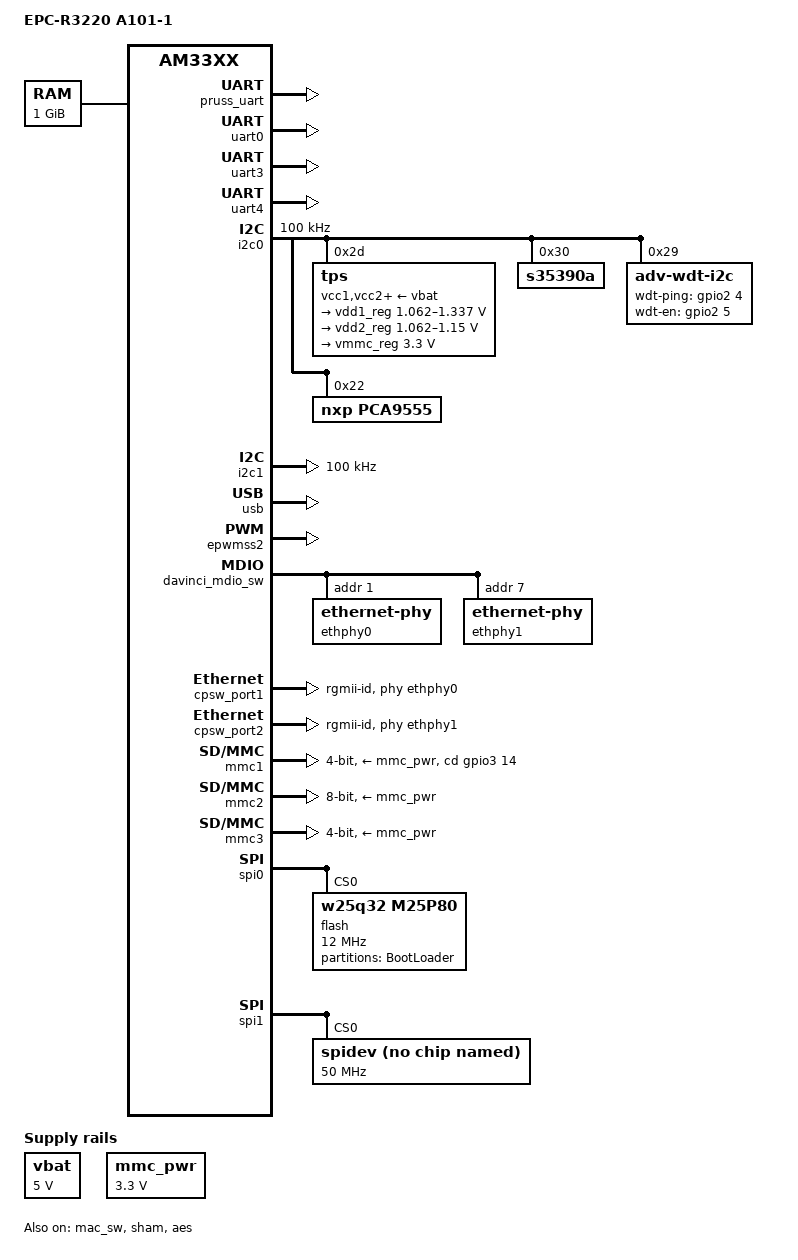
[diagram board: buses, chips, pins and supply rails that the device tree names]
// SPDX-License-Identifier: GPL-2.0-only
/*
 * Copyright (C) 2012 Texas Instruments Incorporated - https://www.ti.com/
 */

/*
 * AM335x Starter Kit
 * http://www.ti.com/tool/tmdssk3358
 */

/dts-v1/;

#include "am33xx.dtsi"
#include <dt-bindings/pwm/pwm.h>
#include <dt-bindings/interrupt-controller/irq.h>

/ {
	model = "EPC-R3220 A101-1";
	compatible = "ti,am335x-evmsk", "ti,am33xx";

	chosen {
		gpio-use-original-number;
	};

	cpus {
		cpu@0 {
			cpu0-supply = <&vdd1_reg>;
		};
	};

	memory {
		device_type = "memory";
		reg = <0x80000000 0x40000000>; /*2 * 256 MB */
	};

	vbat: fixedregulator@0 {
		compatible = "regulator-fixed";
		regulator-name = "vbat";
		regulator-min-microvolt = <5000000>;
		regulator-max-microvolt = <5000000>;
		regulator-boot-on;
	};
/*
	lis3_reg: fixedregulator1 {
		compatible = "regulator-fixed";
		regulator-name = "lis3_reg";
		regulator-boot-on;
	};

	wl12xx_vmmc: fixedregulator2 {
		pinctrl-names = "default";
		pinctrl-0 = <&wl12xx_gpio>;
		compatible = "regulator-fixed";
		regulator-name = "vwl1271";
		regulator-min-microvolt = <1800000>;
		regulator-max-microvolt = <1800000>;
		gpio = <&gpio1 29 0>;
		startup-delay-us = <70000>;
		enable-active-high;
	};
*/
	mmc_pwr: fixedregulator@3 {
		compatible = "regulator-fixed";
		regulator-name = "mmc_pwr";
		regulator-min-microvolt = <3300000>;
		regulator-max-microvolt = <3300000>;
		regulator-always-on;
		regulator-boot-on;
	};

	lcd_bl: backlight {
		compatible = "pwm-backlight";
		pwms = <&ecap2 0 50000 PWM_POLARITY_INVERTED>;
		brightness-levels = <0 58 61 66 75 90 125 170 255>;
		default-brightness-level = <8>;
		status = "disabled";
	};

	panel {
		compatible = "newhaven,nhd-4.3-480272ef-atxl";
		pinctrl-names = "default", "sleep";
		/*pinctrl-0 = <&lcd_pins_default>;
		pinctrl-1 = <&lcd_pins_sleep>;*/
		status = "disabled";

		port {
			panel_0: endpoint@0 {
				remote-endpoint = <&lcdc_0>;
			};
		};
	};
};

&am33xx_pinmux {
	pinctrl-names = "default";
	pinctrl-0 = <&wdt_pins_default>;

	ddr3_vtt_toggle: ddr3_vtt_toggle {
		pinctrl-single,pins = <
			AM33XX_PADCONF(AM335X_PIN_GPMC_OEN_REN, PIN_OUTPUT, MUX_MODE7)	/* gpmc_oen_ren.gpio2_3, OUTPUT, MODE7 */
		>;
	};

	user_leds_default: user_leds_default {
		pinctrl-single,pins = <
			AM33XX_PADCONF(AM335X_PIN_GPMC_AD4, PIN_OUTPUT_PULLDOWN, MUX_MODE7)	/* gpmc_ad4.gpio1_4 */
			AM33XX_PADCONF(AM335X_PIN_GPMC_AD5, PIN_OUTPUT_PULLDOWN, MUX_MODE7)	/* gpmc_ad5.gpio1_5 */
			AM33XX_PADCONF(AM335X_PIN_GPMC_AD6, PIN_OUTPUT_PULLDOWN, MUX_MODE7)	/* gpmc_ad6.gpio1_6 */
			AM33XX_PADCONF(AM335X_PIN_GPMC_AD7, PIN_OUTPUT_PULLDOWN, MUX_MODE7)	/* gpmc_ad7.gpio1_7 */
		>;
	};

	user_leds_sleep: user_leds_sleep {
		pinctrl-single,pins = <
			AM33XX_PADCONF(AM335X_PIN_GPMC_AD4, PIN_INPUT_PULLDOWN,MUX_MODE7)	/* gpmc_a5.gpio1_21 */
			AM33XX_PADCONF(AM335X_PIN_GPMC_AD5, PIN_OUTPUT_PULLDOWN, MUX_MODE7)	/* gpmc_a6.gpio1_22 */
			AM33XX_PADCONF(AM335X_PIN_GPMC_AD6, PIN_OUTPUT_PULLDOWN, MUX_MODE7)	/* gpmc_a7.gpio1_23 */
			AM33XX_PADCONF(AM335X_PIN_GPMC_AD7, PIN_OUTPUT_PULLDOWN, MUX_MODE7)	/* gpmc_a8.gpio1_24 */
		>;
	};

	i2c0_pins: pinmux_i2c0_pins {
		pinctrl-single,pins = <
			AM33XX_PADCONF(AM335X_PIN_I2C0_SDA, PIN_INPUT_PULLUP, MUX_MODE0)
			AM33XX_PADCONF(AM335X_PIN_I2C0_SCL, PIN_INPUT_PULLUP, MUX_MODE0)
		>;
	};

	i2c1_pins: i2c1_pins {
		pinctrl-single,pins = <
			AM33XX_PADCONF(AM335X_PIN_UART0_RTSN, PIN_INPUT, MUX_MODE3)/* (E17) uart0_rtsn.I2C1_SCL */
			AM33XX_PADCONF(AM335X_PIN_UART0_CTSN, PIN_INPUT, MUX_MODE3) /*(E18) uart0_ctsn.I2C1_SDA */
		>;
	};

	uart0_pins: pinmux_uart0_pins {
		pinctrl-single,pins = <
			AM33XX_PADCONF(AM335X_PIN_UART0_RXD, PIN_INPUT_PULLUP, MUX_MODE0)	/* uart0_rxd.uart0_rxd */
			AM33XX_PADCONF(AM335X_PIN_UART0_TXD, PIN_OUTPUT_PULLDOWN, MUX_MODE0)		/* uart0_txd.uart0_txd */
		>;
	};

	uart1_pins_default: pinmux_uart1_pins_default {
		pinctrl-single,pins = <
			AM33XX_PADCONF(AM335X_PIN_UART1_CTSN, PIN_INPUT, MUX_MODE0)			/* uart1_ctsn.uart1_ctsn */
			AM33XX_PADCONF(AM335X_PIN_UART1_RTSN, PIN_OUTPUT_PULLDOWN, MUX_MODE0)		/* uart1_rtsn.uart1_rtsn */
			AM33XX_PADCONF(AM335X_PIN_UART1_RXD, PIN_INPUT_PULLUP, MUX_MODE0)		/* uart1_rxd.uart1_rxd */
			AM33XX_PADCONF(AM335X_PIN_UART1_TXD, PIN_OUTPUT_PULLDOWN, MUX_MODE0) 	/* uart1_txd.uart1_txd */
		>;
	};

	uart1_pins_sleep: pinmux_uart1_pins_sleep {
		pinctrl-single,pins = <
			AM33XX_PADCONF(AM335X_PIN_UART1_CTSN, PIN_INPUT_PULLDOWN, MUX_MODE7)
			AM33XX_PADCONF(AM335X_PIN_UART1_RTSN, PIN_INPUT_PULLDOWN, MUX_MODE7)
			AM33XX_PADCONF(AM335X_PIN_UART1_RXD, PIN_INPUT_PULLDOWN, MUX_MODE7)
			AM33XX_PADCONF(AM335X_PIN_UART1_TXD, PIN_INPUT_PULLDOWN, MUX_MODE7)
		>;
	};

	uart2_pins_default: pinmux_uart2_pins_default {
		pinctrl-single,pins = <
			AM33XX_PADCONF(AM335X_PIN_MII1_CRS, PIN_INPUT_PULLUP, MUX_MODE6)		/* mii1_crs.uart2_rxd */
			AM33XX_PADCONF(AM335X_PIN_MII1_RX_ER, PIN_OUTPUT_PULLDOWN, MUX_MODE6) 	/* mii1_rxerr.uart2_txd */
		>;
	};

	uart2_pins_sleep: pinmux_uart2_pins_sleep {
		pinctrl-single,pins = <
			AM33XX_PADCONF(AM335X_PIN_MII1_CRS, PIN_INPUT_PULLDOWN, MUX_MODE7)
			AM33XX_PADCONF(AM335X_PIN_MII1_RX_ER, PIN_INPUT_PULLDOWN, MUX_MODE7)
		>;
	};

	uart3_pins_default: pinmux_uart3_pins_default {
		pinctrl-single,pins = <
			AM33XX_PADCONF(AM335X_PIN_SPI0_CS1, PIN_INPUT, MUX_MODE1 ) /* (C15) spi0_cs1.uart3_rxd */
			AM33XX_PADCONF(AM335X_PIN_ECAP0_IN_PWM0_OUT, PIN_OUTPUT, MUX_MODE1 ) /* (C18) eCAP0_in_PWM0_out.uart3_txd */
			AM33XX_PADCONF(AM335X_PIN_LCD_DATA10, PIN_INPUT, MUX_MODE6 ) /* (U3) lcd_data10.uart3_ctsn */
			AM33XX_PADCONF(AM335X_PIN_LCD_DATA11, PIN_OUTPUT, MUX_MODE6 ) /* (U4) lcd_data11.uart3_rtsn */
		>;
	};

	uart3_pins_sleep: pinmux_uart3_pins_sleep {
		pinctrl-single,pins = <
			AM33XX_PADCONF(AM335X_PIN_SPI0_CS1, PIN_INPUT_PULLDOWN, MUX_MODE7)
			AM33XX_PADCONF(AM335X_PIN_ECAP0_IN_PWM0_OUT, PIN_INPUT_PULLDOWN, MUX_MODE7)
			AM33XX_PADCONF(AM335X_PIN_LCD_DATA10, PIN_INPUT_PULLDOWN, MUX_MODE7) /* (U3) lcd_data10.uart3_ctsn */
			AM33XX_PADCONF(AM335X_PIN_LCD_DATA11, PIN_INPUT_PULLDOWN, MUX_MODE7) /* (U4) lcd_data11.uart3_rtsn */
		>;
	};

	uart3_rs485_mode: pinmux_uart3_rs485 {
        pinctrl-single,pins = <
			AM33XX_PADCONF(AM335X_PIN_SPI0_CS1, PIN_INPUT, MUX_MODE1 ) /* (C15) spi0_cs1.uart3_rxd */
			AM33XX_PADCONF(AM335X_PIN_ECAP0_IN_PWM0_OUT, PIN_OUTPUT, MUX_MODE1 ) /* (C18) eCAP0_in_PWM0_out.uart3_txd */
			AM33XX_PADCONF(AM335X_PIN_LCD_DATA10, PIN_INPUT_PULLDOWN, MUX_MODE7) /* (U3) lcd_data10.uart3_ctsn */
			AM33XX_PADCONF(AM335X_PIN_LCD_DATA11, PIN_OUTPUT_PULLUP, MUX_MODE7 ) /* (U4) lcd_data11.uart3_rtsn */
        >;
	};

	uart4_pins_default: pinmux_uart4_pins_default {
		pinctrl-single,pins = <
			AM33XX_PADCONF(AM335X_PIN_GPMC_WAIT0, PIN_INPUT_PULLUP, MUX_MODE6)		/* gpmc_wait0.uart4_rxd */
			AM33XX_PADCONF(AM335X_PIN_GPMC_WPN, PIN_OUTPUT_PULLDOWN, MUX_MODE6) 		/* gpmc_wpn.uart4_txd */
			AM33XX_PADCONF(AM335X_PIN_LCD_DATA12, PIN_INPUT, MUX_MODE6 ) /* (V2) lcd_data12.uart4_ctsn */
			AM33XX_PADCONF(AM335X_PIN_LCD_DATA13, PIN_OUTPUT, MUX_MODE6 ) /* (V3) lcd_data13.uart4_rtsn */
		>;
	};

	uart4_pins_sleep: pinmux_uart4_pins_sleep {
		pinctrl-single,pins = <
			AM33XX_PADCONF(AM335X_PIN_GPMC_WAIT0, PIN_INPUT_PULLDOWN, MUX_MODE7)
			AM33XX_PADCONF(AM335X_PIN_GPMC_WPN, PIN_INPUT_PULLDOWN, MUX_MODE7)
			AM33XX_PADCONF(AM335X_PIN_LCD_DATA12, PIN_INPUT_PULLDOWN, MUX_MODE7) /* (V2) lcd_data12.uart4_ctsn */
			AM33XX_PADCONF(AM335X_PIN_LCD_DATA13, PIN_INPUT_PULLDOWN, MUX_MODE7) /* (V3) lcd_data13.uart4_rtsn */
		>;
	};

	uart4_rs485_mode: pinmux_uart4_rs485 {
		pinctrl-single,pins = <
			AM33XX_PADCONF(AM335X_PIN_GPMC_WAIT0, PIN_INPUT_PULLUP, MUX_MODE6)		/* gpmc_wait0.uart4_rxd */
			AM33XX_PADCONF(AM335X_PIN_GPMC_WPN, PIN_OUTPUT_PULLDOWN, MUX_MODE6) 		/* gpmc_wpn.uart4_txd */
			AM33XX_PADCONF(AM335X_PIN_LCD_DATA12, PIN_INPUT_PULLDOWN, MUX_MODE7) /* (V2) lcd_data12.uart4_ctsn */
			AM33XX_PADCONF(AM335X_PIN_LCD_DATA13, PIN_OUTPUT_PULLUP, MUX_MODE7 ) /* (V3) lcd_data13.uart4_rtsn */
		>;
	};

	uart5_pins_default: pinmux_uart5_pins_default {
		pinctrl-single,pins = <
			AM33XX_PADCONF(AM335X_PIN_MII1_COL, PIN_INPUT_PULLUP, MUX_MODE3)		/* mii1_col.uart5_rxd */
			AM33XX_PADCONF(AM335X_PIN_RMII1_REF_CLK, PIN_OUTPUT_PULLDOWN, MUX_MODE3) 	/* rmii1_refclk.uart5_txd */
		>;
	};

	uart5_pins_sleep: pinmux_uart5_pins_sleep {
		pinctrl-single,pins = <
			AM33XX_PADCONF(AM335X_PIN_MII1_COL, PIN_INPUT_PULLDOWN, MUX_MODE7)
			AM33XX_PADCONF(AM335X_PIN_RMII1_REF_CLK, PIN_INPUT_PULLDOWN, MUX_MODE7)
		>;
	};

	usb0_pins_default: pinmux_usb0_pins {
		pinctrl-single,pins = <
			AM33XX_PADCONF(AM335X_PIN_USB0_DRVVBUS, PIN_OUTPUT_PULLDOWN, MUX_MODE0) /* usb0_drvvbus.usb0_drvvbus */
			AM33XX_PADCONF(AM335X_PIN_USB1_DRVVBUS, PIN_OUTPUT_PULLDOWN, MUX_MODE0) /* usb1_drvvbus.usb1_drvvbus */
		>;
	};

	dcan1_pins_default: dcan1_pins_default {
		pinctrl-single,pins = <
			AM33XX_PADCONF(AM335X_PIN_UART0_CTSN, PIN_OUTPUT, MUX_MODE2) 		/* uart0_ctsn.d_can1_tx */
			AM33XX_PADCONF(AM335X_PIN_UART0_RTSN, PIN_INPUT_PULLDOWN, MUX_MODE2) /* uart0_rtsn.d_can1_rx */
		>;
	};

	clkout2_pin: pinmux_clkout2_pin {
		pinctrl-single,pins = <
			AM33XX_PADCONF(AM335X_PIN_XDMA_EVENT_INTR1, PIN_OUTPUT_PULLDOWN, MUX_MODE3)	/* xdma_event_intr1.clkout2 */
		>;
	};

	ecap2_pins: backlight_pins {
		pinctrl-single,pins = <
			AM33XX_PADCONF(AM335X_PIN_MCASP0_AHCLKR, PIN_OUTPUT_PULLDOWN, MUX_MODE4)	/* mcasp0_ahclkr.ecap2_in_pwm2_out MODE4*/
		>;
	};

	spi0_pins: pinmux_spi0_pins {
		pinctrl-single,pins = <
			AM33XX_PADCONF(AM335X_PIN_SPI0_SCLK, PIN_INPUT_PULLUP, MUX_MODE0)          /* sspi0_sclk.spi0_sclk */
			AM33XX_PADCONF(AM335X_PIN_SPI0_D0, PIN_INPUT_PULLUP, MUX_MODE0)          /* spi0_d0.spi0_d0 */
			AM33XX_PADCONF(AM335X_PIN_SPI0_D1, PIN_OUTPUT_PULLUP, MUX_MODE0)         /* spi0_d1.spi0_d1 */
			AM33XX_PADCONF(AM335X_PIN_SPI0_CS0, PIN_OUTPUT_PULLUP, MUX_MODE0)         /* spi0_cs0.spi0_cs0 */
		>;
	};

	spi1_pins: spi1_pins {
		pinctrl-single,pins = <
			AM33XX_PADCONF(AM335X_PIN_MII1_COL, PIN_INPUT, MUX_MODE2 ) /* (H16) gmii1_col.spi1_sclk */
			AM33XX_PADCONF(AM335X_PIN_MII1_CRS, PIN_INPUT, MUX_MODE2 ) /* (H17) gmii1_crs.spi1_d0 */
			AM33XX_PADCONF(AM335X_PIN_MII1_RX_ER, PIN_INPUT, MUX_MODE2 ) /* (J15) gmii1_rxer.spi1_d1 */
			AM33XX_PADCONF(AM335X_PIN_RMII1_REF_CLK, PIN_INPUT, MUX_MODE2 ) /* (H18) rmii1_refclk.spi1_cs0 */
		>;
	};

	wdt_pins_default: pinmux_wdt_pins_default {
		pinctrl-single,pins = <
			AM33XX_PADCONF(AM335X_PIN_GPMC_BEN0_CLE, PIN_OUTPUT_PULLDOWN, MUX_MODE7 ) /* (T6) gpmc_be0n_cle.gpio2[5] */
			AM33XX_PADCONF(AM335X_PIN_GPMC_WEN, PIN_OUTPUT_PULLDOWN, MUX_MODE7) 		/* gpmc_wen.gpio2_4 */
		>;
	};

	cpsw_default: cpsw_default {
		pinctrl-single,pins = <
			/* Slave 1 */
			AM33XX_PADCONF(AM335X_PIN_MII1_TX_EN, PIN_OUTPUT_PULLDOWN, MUX_MODE2)	/* mii1_txen.rgmii1_tctl */
			AM33XX_PADCONF(AM335X_PIN_MII1_RX_DV, PIN_INPUT_PULLDOWN, MUX_MODE2)	/* mii1_rxdv.rgmii1_rctl */
			AM33XX_PADCONF(AM335X_PIN_MII1_TXD3, PIN_OUTPUT_PULLDOWN, MUX_MODE2)	/* mii1_txd3.rgmii1_td3 */
			AM33XX_PADCONF(AM335X_PIN_MII1_TXD2, PIN_OUTPUT_PULLDOWN, MUX_MODE2)	/* mii1_txd2.rgmii1_td2 */
			AM33XX_PADCONF(AM335X_PIN_MII1_TXD1, PIN_OUTPUT_PULLDOWN, MUX_MODE2)	/* mii1_txd1.rgmii1_td1 */
			AM33XX_PADCONF(AM335X_PIN_MII1_TXD0, PIN_OUTPUT_PULLDOWN, MUX_MODE2)	/* mii1_txd0.rgmii1_td0 */
			AM33XX_PADCONF(AM335X_PIN_MII1_TX_CLK, PIN_OUTPUT_PULLDOWN, MUX_MODE2)	/* mii1_txclk.rgmii1_tclk */
			AM33XX_PADCONF(AM335X_PIN_MII1_RX_CLK, PIN_INPUT_PULLDOWN, MUX_MODE2)	/* mii1_rxclk.rgmii1_rclk */
			AM33XX_PADCONF(AM335X_PIN_MII1_RXD3, PIN_INPUT_PULLDOWN, MUX_MODE2)	/* mii1_rxd3.rgmii1_rd3 */
			AM33XX_PADCONF(AM335X_PIN_MII1_RXD2, PIN_INPUT_PULLDOWN, MUX_MODE2)	/* mii1_rxd2.rgmii1_rd2 */
			AM33XX_PADCONF(AM335X_PIN_MII1_RXD1, PIN_INPUT_PULLDOWN, MUX_MODE2)	/* mii1_rxd1.rgmii1_rd1 */
			AM33XX_PADCONF(AM335X_PIN_MII1_RXD0, PIN_INPUT_PULLDOWN, MUX_MODE2)	/* mii1_rxd0.rgmii1_rd0 */

			/* Slave 2 */
			AM33XX_PADCONF(AM335X_PIN_GPMC_A0, PIN_OUTPUT_PULLDOWN, MUX_MODE2)	/* gpmc_a0.rgmii2_tctl */
			AM33XX_PADCONF(AM335X_PIN_GPMC_A1, PIN_INPUT_PULLDOWN, MUX_MODE2)	/* gpmc_a1.rgmii2_rctl */
			AM33XX_PADCONF(AM335X_PIN_GPMC_A2, PIN_OUTPUT_PULLDOWN, MUX_MODE2)	/* gpmc_a2.rgmii2_td3 */
			AM33XX_PADCONF(AM335X_PIN_GPMC_A3, PIN_OUTPUT_PULLDOWN, MUX_MODE2)	/* gpmc_a3.rgmii2_td2 */
			AM33XX_PADCONF(AM335X_PIN_GPMC_A4, PIN_OUTPUT_PULLDOWN, MUX_MODE2)	/* gpmc_a4.rgmii2_td1 */
			AM33XX_PADCONF(AM335X_PIN_GPMC_A5, PIN_OUTPUT_PULLDOWN, MUX_MODE2)	/* gpmc_a5.rgmii2_td0 */
			AM33XX_PADCONF(AM335X_PIN_GPMC_A6, PIN_OUTPUT_PULLDOWN, MUX_MODE2)	/* gpmc_a6.rgmii2_tclk */
			AM33XX_PADCONF(AM335X_PIN_GPMC_A7, PIN_INPUT_PULLDOWN, MUX_MODE2)	/* gpmc_a7.rgmii2_rclk */
			AM33XX_PADCONF(AM335X_PIN_GPMC_A8, PIN_INPUT_PULLDOWN, MUX_MODE2)	/* gpmc_a8.rgmii2_rd3 */
			AM33XX_PADCONF(AM335X_PIN_GPMC_A9, PIN_INPUT_PULLDOWN, MUX_MODE2)	/* gpmc_a9.rgmii2_rd2 */
			AM33XX_PADCONF(AM335X_PIN_GPMC_A10, PIN_INPUT_PULLDOWN, MUX_MODE2)	/* gpmc_a10.rgmii2_rd1 */
			AM33XX_PADCONF(AM335X_PIN_GPMC_A11, PIN_INPUT_PULLDOWN, MUX_MODE2)	/* gpmc_a11.rgmii2_rd0 */
		>;
	};

	cpsw_sleep: cpsw_sleep {
		pinctrl-single,pins = <
			/* Slave 1 reset value */
			AM33XX_PADCONF(AM335X_PIN_MII1_TX_EN, PIN_INPUT_PULLDOWN, MUX_MODE7)
			AM33XX_PADCONF(AM335X_PIN_MII1_RX_DV, PIN_INPUT_PULLDOWN, MUX_MODE7)
			AM33XX_PADCONF(AM335X_PIN_MII1_TXD3, PIN_INPUT_PULLDOWN, MUX_MODE7)
			AM33XX_PADCONF(AM335X_PIN_MII1_TXD2, PIN_INPUT_PULLDOWN, MUX_MODE7)
			AM33XX_PADCONF(AM335X_PIN_MII1_TXD1, PIN_INPUT_PULLDOWN, MUX_MODE7)
			AM33XX_PADCONF(AM335X_PIN_MII1_TXD0, PIN_INPUT_PULLDOWN, MUX_MODE7)
			AM33XX_PADCONF(AM335X_PIN_MII1_TX_CLK, PIN_INPUT_PULLDOWN, MUX_MODE7)
			AM33XX_PADCONF(AM335X_PIN_MII1_RX_CLK, PIN_INPUT_PULLDOWN, MUX_MODE7)
			AM33XX_PADCONF(AM335X_PIN_MII1_RXD3, PIN_INPUT_PULLDOWN, MUX_MODE7)
			AM33XX_PADCONF(AM335X_PIN_MII1_RXD2, PIN_INPUT_PULLDOWN, MUX_MODE7)
			AM33XX_PADCONF(AM335X_PIN_MII1_RXD1, PIN_INPUT_PULLDOWN, MUX_MODE7)
			AM33XX_PADCONF(AM335X_PIN_MII1_RXD0, PIN_INPUT_PULLDOWN, MUX_MODE7)

			/* Slave 2 reset value*/
			AM33XX_PADCONF(AM335X_PIN_GPMC_A0, PIN_INPUT_PULLDOWN, MUX_MODE7)
			AM33XX_PADCONF(AM335X_PIN_GPMC_A1, PIN_INPUT_PULLDOWN, MUX_MODE7)
			AM33XX_PADCONF(AM335X_PIN_GPMC_A2, PIN_INPUT_PULLDOWN, MUX_MODE7)
			AM33XX_PADCONF(AM335X_PIN_GPMC_A3, PIN_INPUT_PULLDOWN, MUX_MODE7)
			AM33XX_PADCONF(AM335X_PIN_GPMC_A4, PIN_INPUT_PULLDOWN, MUX_MODE7)
			AM33XX_PADCONF(AM335X_PIN_GPMC_A5, PIN_INPUT_PULLDOWN, MUX_MODE7)
			AM33XX_PADCONF(AM335X_PIN_GPMC_A6, PIN_INPUT_PULLDOWN, MUX_MODE7)
			AM33XX_PADCONF(AM335X_PIN_GPMC_A7, PIN_INPUT_PULLDOWN, MUX_MODE7)
			AM33XX_PADCONF(AM335X_PIN_GPMC_A8, PIN_INPUT_PULLDOWN, MUX_MODE7)
			AM33XX_PADCONF(AM335X_PIN_GPMC_A9, PIN_INPUT_PULLDOWN, MUX_MODE7)
			AM33XX_PADCONF(AM335X_PIN_GPMC_A10, PIN_INPUT_PULLDOWN, MUX_MODE7)
			AM33XX_PADCONF(AM335X_PIN_GPMC_A11, PIN_INPUT_PULLDOWN, MUX_MODE7)
		>;
	};

	davinci_mdio_default: davinci_mdio_default {
		pinctrl-single,pins = <
			/* MDIO */
			AM33XX_PADCONF(AM335X_PIN_MDIO, PIN_INPUT_PULLUP | SLEWCTRL_FAST, MUX_MODE0)
			AM33XX_PADCONF(AM335X_PIN_MDC, PIN_OUTPUT_PULLUP, MUX_MODE0)
		>;
	};

	davinci_mdio_sleep: davinci_mdio_sleep {
		pinctrl-single,pins = <
			/* MDIO reset value */
			AM33XX_PADCONF(AM335X_PIN_MDIO, PIN_INPUT_PULLDOWN, MUX_MODE7)
			AM33XX_PADCONF(AM335X_PIN_MDC, PIN_INPUT_PULLDOWN, MUX_MODE7)
		>;
	};

	mmc1_pins: pinmux_mmc1_pins {
		pinctrl-single,pins = <
			AM33XX_PADCONF(AM335X_PIN_MMC0_DAT3, PIN_INPUT_PULLUP, MUX_MODE0)	/* mmc0_dat3.mmc0_dat3 */
			AM33XX_PADCONF(AM335X_PIN_MMC0_DAT2, PIN_INPUT_PULLUP, MUX_MODE0)	/* mmc0_dat2.mmc0_dat2 */
			AM33XX_PADCONF(AM335X_PIN_MMC0_DAT1, PIN_INPUT_PULLUP, MUX_MODE0)	/* mmc0_dat1.mmc0_dat1 */
			AM33XX_PADCONF(AM335X_PIN_MMC0_DAT0, PIN_INPUT_PULLUP, MUX_MODE0)	/* mmc0_dat0.mmc0_dat0 */
			AM33XX_PADCONF(AM335X_PIN_MMC0_CLK, PIN_INPUT_PULLUP, MUX_MODE0)	/* mmc0_clk.mmc0_clk */
			AM33XX_PADCONF(AM335X_PIN_MMC0_CMD, PIN_INPUT_PULLUP, MUX_MODE0)	/* mmc0_cmd.mmc0_cmd */
			AM33XX_PADCONF(AM335X_PIN_MCASP0_ACLKR, PIN_INPUT_PULLUP, MUX_MODE7)	/* mcasp0_aclkr.gpio3_18 */
			AM33XX_PADCONF(AM335X_PIN_MCASP0_ACLKX, PIN_INPUT_PULLUP, MUX_MODE7)	/* mcasp0_aclkx.gpio3_14 */
		>;
	};

	mcasp1_pins: mcasp1_pins {
		pinctrl-single,pins = <
			AM33XX_PADCONF(AM335X_PIN_MII1_CRS, PIN_INPUT_PULLDOWN, MUX_MODE4) /* mii1_crs.mcasp1_aclkx */
			AM33XX_PADCONF(AM335X_PIN_MII1_RX_ER, PIN_INPUT_PULLDOWN, MUX_MODE4) /* mii1_rxerr.mcasp1_fsx */
			AM33XX_PADCONF(AM335X_PIN_MII1_COL, PIN_OUTPUT_PULLDOWN, MUX_MODE4) /* mii1_col.mcasp1_axr2 */
			AM33XX_PADCONF(AM335X_PIN_RMII1_REF_CLK, PIN_INPUT_PULLDOWN, MUX_MODE4) /* rmii1_ref_clk.mcasp1_axr3 */
		>;
	};

	mcasp1_pins_sleep: mcasp1_pins_sleep {
		pinctrl-single,pins = <
			AM33XX_PADCONF(AM335X_PIN_MII1_CRS, PIN_INPUT_PULLDOWN, MUX_MODE7)
			AM33XX_PADCONF(AM335X_PIN_MII1_RX_ER, PIN_INPUT_PULLDOWN, MUX_MODE7)
			AM33XX_PADCONF(AM335X_PIN_MII1_COL, PIN_INPUT_PULLDOWN, MUX_MODE7)
			AM33XX_PADCONF(AM335X_PIN_RMII1_REF_CLK, PIN_INPUT_PULLDOWN, MUX_MODE7)
		>;
	};

	mmc2_pins: pinmux_mmc2_pins {
		pinctrl-single,pins = <
			AM33XX_PADCONF(AM335X_PIN_GPMC_CSN1, PIN_INPUT_PULLUP, MUX_MODE2) /* gpmc_csn1.mmc1_clk */
			AM33XX_PADCONF(AM335X_PIN_GPMC_CSN2, PIN_INPUT_PULLUP, MUX_MODE2) /* gpmc_csn2.mmc1_cmd */
			AM33XX_PADCONF(AM335X_PIN_GPMC_AD0, PIN_INPUT_PULLUP, MUX_MODE1) /* gpmc_ad0.mmc1_dat0 */
			AM33XX_PADCONF(AM335X_PIN_GPMC_AD1, PIN_INPUT_PULLUP, MUX_MODE1) /* gpmc_ad1.mmc1_dat1 */
			AM33XX_PADCONF(AM335X_PIN_GPMC_AD2, PIN_INPUT_PULLUP, MUX_MODE1) /* gpmc_ad2.mmc1_dat2 */
			AM33XX_PADCONF(AM335X_PIN_GPMC_AD3, PIN_INPUT_PULLUP, MUX_MODE1) /* gpmc_ad3.mmc1_dat3 */
			AM33XX_PADCONF(AM335X_PIN_GPMC_AD4, PIN_INPUT_PULLUP, MUX_MODE1) /* gpmc_ad4.mmc1_dat4 */
			AM33XX_PADCONF(AM335X_PIN_GPMC_AD5, PIN_INPUT_PULLUP, MUX_MODE1) /* gpmc_ad5.mmc1_dat5 */
			AM33XX_PADCONF(AM335X_PIN_GPMC_AD6, PIN_INPUT_PULLUP, MUX_MODE1) /* gpmc_ad6.mmc1_dat6 */
			AM33XX_PADCONF(AM335X_PIN_GPMC_AD7, PIN_INPUT_PULLUP, MUX_MODE1) /* gpmc_ad7.mmc1_dat7 */
		>;
	};

	mmc3_pins: mmc3_pins {
		pinctrl-single,pins = <
			AM33XX_PADCONF(AM335X_PIN_GPMC_CLK, PIN_INPUT, MUX_MODE3 ) /* (V12) gpmc_clk.mmc2_clk */
			AM33XX_PADCONF(AM335X_PIN_GPMC_CSN3, PIN_INPUT, MUX_MODE3 ) /* (T13) gpmc_csn3.mmc2_cmd */
			AM33XX_PADCONF(AM335X_PIN_GPMC_AD12, PIN_INPUT, MUX_MODE3 ) /* (T12) gpmc_ad12.mmc2_dat0 */
			AM33XX_PADCONF(AM335X_PIN_GPMC_AD13, PIN_INPUT, MUX_MODE3 ) /* (R12) gpmc_ad13.mmc2_dat1 */
			AM33XX_PADCONF(AM335X_PIN_GPMC_AD14, PIN_INPUT, MUX_MODE3 ) /* (V13) gpmc_ad14.mmc2_dat2 */
			AM33XX_PADCONF(AM335X_PIN_GPMC_AD15, PIN_INPUT, MUX_MODE3 ) /* (U13) gpmc_ad15.mmc2_dat3 */
		>;
	};

	wl12xx_gpio: pinmux_wl12xx_gpio {
		pinctrl-single,pins = <
			AM33XX_PADCONF(AM335X_PIN_GPMC_CSN0, PIN_OUTPUT_PULLUP, MUX_MODE7) /* gpmc_csn0.gpio1_29 */
		>;
	};

	pruss_uart_pins: pruss_uart_pins {
		pinctrl-single,pins = <
			AM33XX_PADCONF(AM335X_PIN_SPI0_SCLK, PIN_INPUT_PULLDOWN, MUX_MODE4) /* spi0_sclk.pr1_uart0_cts_n */
			AM33XX_PADCONF(AM335X_PIN_SPI0_D0, PIN_OUTPUT_PULLDOWN, MUX_MODE4) /* spi0_d0.pr1_uart0_rts_n */
			AM33XX_PADCONF(AM335X_PIN_SPI0_D1, PIN_INPUT_PULLUP, MUX_MODE4) /* spi0_d1.pr1_uart0_rxd */
			AM33XX_PADCONF(AM335X_PIN_SPI0_CS0, PIN_OUTPUT_PULLUP, MUX_MODE4) /* spi0_cs9.pr1_uart0_txd */
		>;
	};
};

&pruss_uart {
	interrupts = <6 2 2>;
	pinctrl-names = "default";
	pinctrl-0 = <&pruss_uart_pins>;
	status = "okay";
};

&uart0 {
	pinctrl-names = "default";
	pinctrl-0 = <&uart0_pins>;

	status = "okay";
};

&uart1 {
	pinctrl-names = "default";
	pinctrl-0 = <&uart1_pins_default>;
	adv_rs485flag_gpio = <45>;
	status = "disabled";
};

&uart2 {
	pinctrl-names = "default";
	pinctrl-0 = <&uart2_pins_default>;
	status = "disabled";
};

&uart3 {
	pinctrl-names = "default","rs485_mode";
	pinctrl-0 = <&uart3_pins_default>;
	pinctrl-1 = <&uart3_rs485_mode>;
	rts-gpio = <&gpio2 17 GPIO_ACTIVE_LOW>;
	rs485-rts-active-high;
	rs485-rx-during-tx;
	rs485-rts-delay = <1 0>;
	adv_rs485flag_gpio = <499>;
	status = "okay";
};

&uart4 {
	pinctrl-names = "default","rs485_mode";
	pinctrl-0 = <&uart4_pins_default>;
	pinctrl-1 = <&uart4_rs485_mode>;
	rts-gpio = <&gpio0 9 GPIO_ACTIVE_LOW>;
	rs485-rts-active-high;
	rs485-rx-during-tx;
	rs485-rts-delay = <1 0>;
	adv_rs485flag_gpio = <502>;
	status = "okay";
};

&uart5 {
	pinctrl-names = "default";
	pinctrl-0 = <&uart5_pins_default>;

	status = "disabled";
};

&i2c0 {
	pinctrl-names = "default";
	pinctrl-0 = <&i2c0_pins>;

	status = "okay";
	clock-frequency = <100000>;

	tps: tps@2d {
		reg = <0x2d>;
	};

	s35390a: s35390a@30 {
		compatible = "s35390a";
		reg = <0x30>;
		status = "okay";
	};

	adv-wdt-i2c@29 {
		compatible = "adv-wdt-i2c";
		status = "okay";
		reg = <0x29>;
		wdt-ping = <&gpio2 4 GPIO_ACTIVE_HIGH>;
		wdt-en = <&gpio2 5 GPIO_ACTIVE_HIGH>;
	};

	pca9555: gpio@22 {
		compatible = "nxp,pca9555";
		reg = <0x22>;
		polarity = <0>;
		default_value = <0 0 0 0 0 0 0 0 1 0 0 1 0 0 0 0>;
		default_direction = <0 0 0 0 0 0 0 0 1 1 1 1 1 1 0 0>;
		export_flag = <1 1 1 1 1 1 0 0 1 1 1 1 1 1 0 0>;
		status = "okay";
	};
};

&i2c1 {
	pinctrl-names = "default";
	pinctrl-0 = <&i2c1_pins>;

	status = "okay";
	clock-frequency = <100000>;

};

&usb {
	status = "okay";
	pinctrl-names = "default";
	pinctrl-0 = <&usb0_pins_default>;
};

&epwmss2 {
	status = "okay";

	ecap2: pwm@100 {
		status = "disabled";
		pinctrl-names = "default";
		pinctrl-0 = <&ecap2_pins>;
	};
};

&wkup_m3_ipc {
	ti,needs-vtt-toggle;
	ti,vtt-gpio-pin = <67>;
	ti,scale-data-fw = "am335x-evm-scale-data.bin";
};

#include "tps65910.dtsi"

&tps {
	vcc1-supply = <&vbat>;
	vcc2-supply = <&vbat>;
	vcc3-supply = <&vbat>;
	vcc4-supply = <&vbat>;
	vcc5-supply = <&vbat>;
	vcc6-supply = <&vbat>;
	vcc7-supply = <&vbat>;
	vccio-supply = <&vbat>;

	regulators {
		vrtc_reg: regulator@0 {
			regulator-always-on;
		};

		vio_reg: regulator@1 {
			regulator-always-on;
		};

		vdd1_reg: regulator@2 {
			/* VDD_MPU voltage limits 0.95V - 1.26V with +/-4% tolerance */
			regulator-name = "vdd_mpu";
			regulator-min-microvolt = <1062500>;
			regulator-max-microvolt = <1337500>;
			regulator-boot-on;
			regulator-always-on;
		};

		vdd2_reg: regulator@3 {
			/* VDD_CORE voltage limits 0.95V - 1.1V with +/-4% tolerance */
			regulator-name = "vdd_core";
			regulator-min-microvolt = <1062500>;
			regulator-max-microvolt = <1150000>;
			regulator-boot-on;
			regulator-always-on;
		};

		vdd3_reg: regulator@4 {
			regulator-always-on;
		};

		vdig1_reg: regulator@5 {
			regulator-always-on;
		};

		vdig2_reg: regulator@6 {
			regulator-always-on;
		};

		vpll_reg: regulator@7 {
			regulator-always-on;
		};

		vdac_reg: regulator@8 {
			regulator-always-on;
		};

		vaux1_reg: regulator@9 {
			regulator-always-on;
		};

		vaux2_reg: regulator@10 {
			regulator-always-on;
		};

		vaux33_reg: regulator@11 {
			regulator-always-on;
		};

		vmmc_reg: regulator@12 {
			regulator-min-microvolt = <3300000>;
			regulator-max-microvolt = <3300000>;
			regulator-always-on;
		};
	};
};

&mac_sw {
	pinctrl-names = "default", "sleep";
	pinctrl-0 = <&cpsw_default>;
	pinctrl-1 = <&cpsw_sleep>;
	dual_emac;
	status = "okay";
	};

&davinci_mdio_sw {
	pinctrl-names = "default", "sleep";
	pinctrl-0 = <&davinci_mdio_default>;
	pinctrl-1 = <&davinci_mdio_sleep>;

	ethphy0: ethernet-phy@0 {
		reg = <1>;
	};

	ethphy1: ethernet-phy@1 {
		reg = <7>;
	};
};

&cpsw_port1 {
	phy-handle = <&ethphy0>;
	phy-mode = "rgmii-id";
	ti,dual-emac-pvid = <2>;
};

&cpsw_port2 {
	phy-handle = <&ethphy1>;
	phy-mode = "rgmii-id";
	ti,dual-emac-pvid = <3>;
};

&mmc1 {
	status = "okay";
	vmmc-supply = <&mmc_pwr>;
	bus-width = <4>;
	pinctrl-names = "default";
	pinctrl-0 = <&mmc1_pins>;
	cd-gpios = <&gpio3 14 GPIO_ACTIVE_HIGH>;
};

&sham {
	status = "okay";
};

&aes {
	status = "okay";
};

&gpio0_target {
	ti,no-reset-on-init;
};

&mmc2 {
	status = "okay";
	vmmc-supply = <&mmc_pwr>;//yanwei
	ti,non-removable;
	bus-width = <8>;
	cap-power-off-card;
	pinctrl-names = "default";
	pinctrl-0 = <&mmc2_pins>;
};

&mmc3 {
	/* these are on the crossbar and are outlined in the
	   xbar-event-map element */
	dmas = <&edma_xbar 12 0 1
		&edma_xbar 13 0 2>;
	dma-names = "tx", "rx";
	status = "okay";
	vmmc-supply = <&mmc_pwr>;
	bus-width = <4>;
	pinctrl-names = "default";
	pinctrl-0 = <&mmc3_pins>;
	ti,non-removable;
	ti,needs-special-hs-handling;
	cap-power-off-card;
	keep-power-in-suspend;

	#address-cells = <1>;
	#size-cells = <0>;
/*	wlcore: wlcore@0 {
		compatible = "ti,wl1835";
		reg = <2>;
		interrupt-parent = <&gpio3>;
		interrupts = <17 IRQ_TYPE_LEVEL_HIGH>;
	};*/
};

&mcasp1 {
	#sound-dai-cells = <0>;
	pinctrl-names = "default", "sleep";
	pinctrl-0 = <&mcasp1_pins>;
	pinctrl-1 = <&mcasp1_pins_sleep>;

	status = "disabled";

	op-mode = <0>;          /* MCASP_IIS_MODE */
	tdm-slots = <2>;
	/* 4 serializers */
	serial-dir = <  /* 0: INACTIVE, 1: TX, 2: RX */
		0 0 1 2
	>;
	tx-num-evt = <32>;
	rx-num-evt = <32>;
};

&wdt2 {
	status = "disabled";
};

&tscadc {
	status = "disabled";
	tsc {
		ti,wires = <4>;
		ti,x-plate-resistance = <200>;
		ti,coordinate-readouts = <5>;
		ti,wire-config = <0x00 0x11 0x22 0x33>;
	};
};

&lcdc {
	status = "disabled";

	blue-and-red-wiring = "crossed";

	port {
		lcdc_0: endpoint@0 {
			remote-endpoint = <&panel_0>;
		};
	};
};

&spi0 {
	pinctrl-names = "default";
	pinctrl-0 = <&spi0_pins>;
	status = "okay";

	flash: m25p80@0 {
		compatible = "w25q32,m25p80";
		spi-max-frequency = <12000000>;
		reg = <0>;
		#address-cells = <1>;
		#size-cells = <1>;		

		/* MTD partition table.*/
		partition@0 {
		label = "BootLoader";
		reg = <0x00000000 0x00400000>;
		};
	};
};

&spi1 {
	pinctrl-names = "default";
	pinctrl-0 = <&spi1_pins>;
	status = "okay";
	ti,spi-num-cs = <1>;
	ti,pindir-d0-out-d1-in;
	spidev@0{
		compatible = "spidev";
		reg = <0>;
		spi-max-frequency = <50000000>;
	};
};

&dcan1 {
	status = "disabled";
	pinctrl-names = "default";
	pinctrl-0 = <&dcan1_pins_default>;
};

&rtc {
	clocks = <&clk_32768_ck>, <&clk_24mhz_clkctrl AM3_CLK_24MHZ_CLKDIV32K_CLKCTRL 0>;
	clock-names = "ext-clk", "int-clk";
	status = "disabled";
};

&pruss_tm {
	status = "disabled";
};

&gpio2 {
	ti,no-reset-on-init;
};

&gpio3 {
	ti,no-reset-on-init;
};

